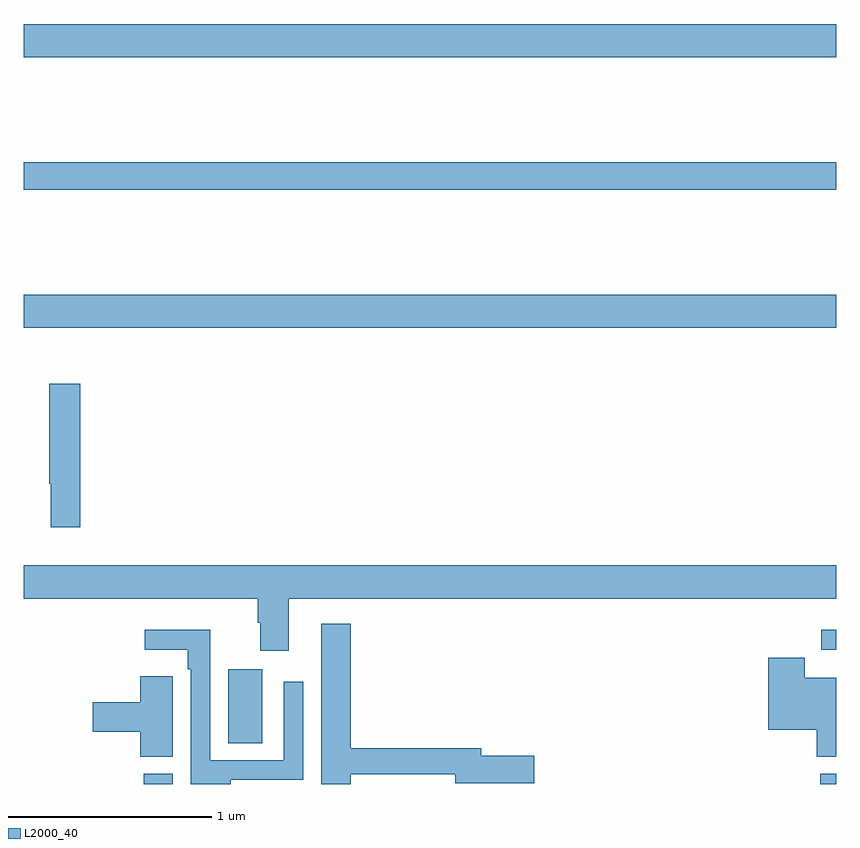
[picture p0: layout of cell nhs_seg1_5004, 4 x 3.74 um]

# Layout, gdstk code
import gdstk
lib = gdstk.Library(unit=1e-6, precision=1e-09)
def R(c, l, rs):  # rectangles x0, y0, x1, y1
    for r in rs: c.add(gdstk.rectangle(r[:2], r[2:], *l))
def P(c, l, *ps):  # polygons
    for p in ps: c.add(gdstk.Polygon(p, *l))
L2000_40 = (2000, 40)

nhs_seg1_5004 = lib.new_cell('nhs_seg1_5004')
R(nhs_seg1_5004, L2000_40, [(383.591,504.199,383.734,504.249), (386.921,504.199,387,504.249), (384.008,504.4,384.175,504.763), (386.925,504.86,387,504.958), (383,506.444,387,506.608), (383,507.124,387,507.26), (383,507.776,387,507.94)])
P(nhs_seg1_5004, L2000_40, [(383.279,506.17),(383.125,506.17),(383.125,505.676),(383.132,505.676),(383.132,505.464),(383.279,505.464)],
  [(384.304,505.112),(387,505.112),(387,505.276),(383,505.276),(383,505.112),(384.152,505.112),(384.152,504.992),(384.164,504.992),(384.164,504.855),(384.304,504.855)],
  [(384.611,504.246),(385.124,504.246),(385.124,504.203),(385.513,504.203),(385.513,504.338),(385.252,504.338),(385.252,504.374),(384.611,504.374),(384.611,504.988),(384.464,504.988),(384.464,504.199),(384.611,504.199)],
  [(384.019,504.219),(384.375,504.219),(384.375,504.703),(384.279,504.703),(384.279,504.315),(383.919,504.315),(383.919,504.958),(383.595,504.958),(383.595,504.86),(383.807,504.86),(383.807,504.764),(383.823,504.764),(383.823,504.199),(384.019,504.199)],
  [(387,504.721),(386.844,504.721),(386.844,504.82),(386.666,504.82),(386.666,504.467),(386.903,504.467),(386.903,504.334),(387,504.334)],
  [(383.734,504.617),(383.733,504.617),(383.733,504.73),(383.573,504.73),(383.573,504.602),(383.34,504.602),(383.34,504.455),(383.573,504.455),(383.573,504.334),(383.734,504.334)])

lib.write_gds('nhs_seg1_5004.gds')
